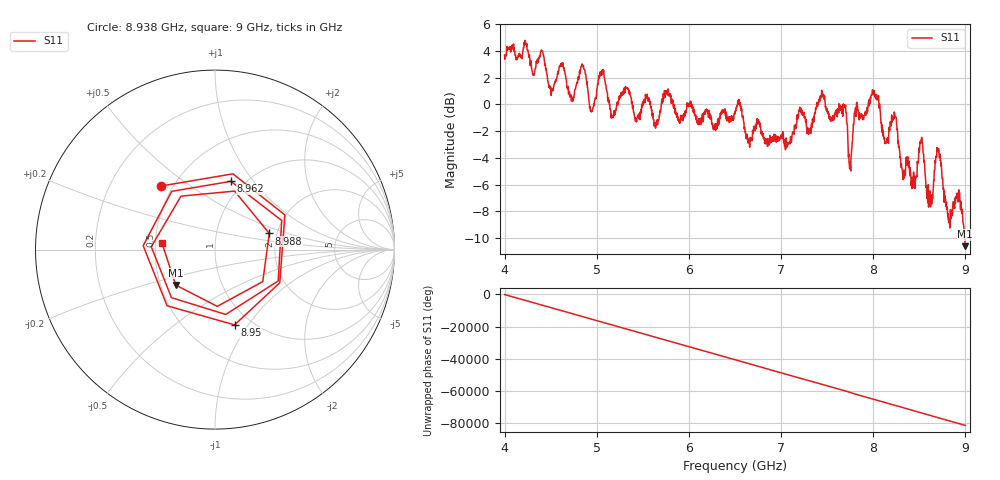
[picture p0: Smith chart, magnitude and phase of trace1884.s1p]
! Created with skrf 1.8.0 (http://scikit-rf.org).
# Hz S RI R 50.0
!freq ReS11 ImS11
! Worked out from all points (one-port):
!   1601 points, 4 GHz to 9 GHz, reference 50 ohm
!   lowest |S11| = -10.6 dB at 8.997 GHz (marker M1), VSWR 1.84, Z = 29.9 - j12.9 ohm
!   |S11| at or under -10 dB: 8.987914 GHz to 8.988386 GHz (472.8 kHz wide, 0.00526 % of centre); 8.994044 GHz to end of sweep
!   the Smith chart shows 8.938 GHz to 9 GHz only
!   S11 on the Smith chart (normalised r, x): 8.938 GHz: 0.43, +0.39; 8.95 GHz: 0.84, -0.86; 8.962 GHz: 0.87, +0.78; 8.988 GHz: 1.82, +0.36; 9 GHz: 0.54, +0.04
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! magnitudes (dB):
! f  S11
! 4 GHz  3.7
! 4.506 GHz  0.7
! 4.625 GHz  2.9
! 4.731 GHz  0.4
! 4.853 GHz  2.9
! 4.941 GHz  -0.6
! 5.05 GHz  2.3
! 5.169 GHz  -0.9
! 5.25 GHz  0.7
! 5.875 GHz  -0.7
! 6.5 GHz  -0.7
! 7.125 GHz  -2.1
! 7.45 GHz  0.8
! 7.688 GHz  0.0
! 7.75 GHz  -4.3
! 7.809 GHz  -0.2
! 8 GHz  0.9
! 8.375 GHz  -3.9
! 8.522 GHz  -2.6
! 8.619 GHz  -7.2
! 8.706 GHz  -3.5
! 8.822 GHz  -8.9
! 8.938 GHz  -6.7
! 8.95 GHz  -7.3
! 8.962 GHz  -8.2
! 8.988 GHz  -10.0
! 8.997 GHz  -10.6
! 9 GHz  -10.5
